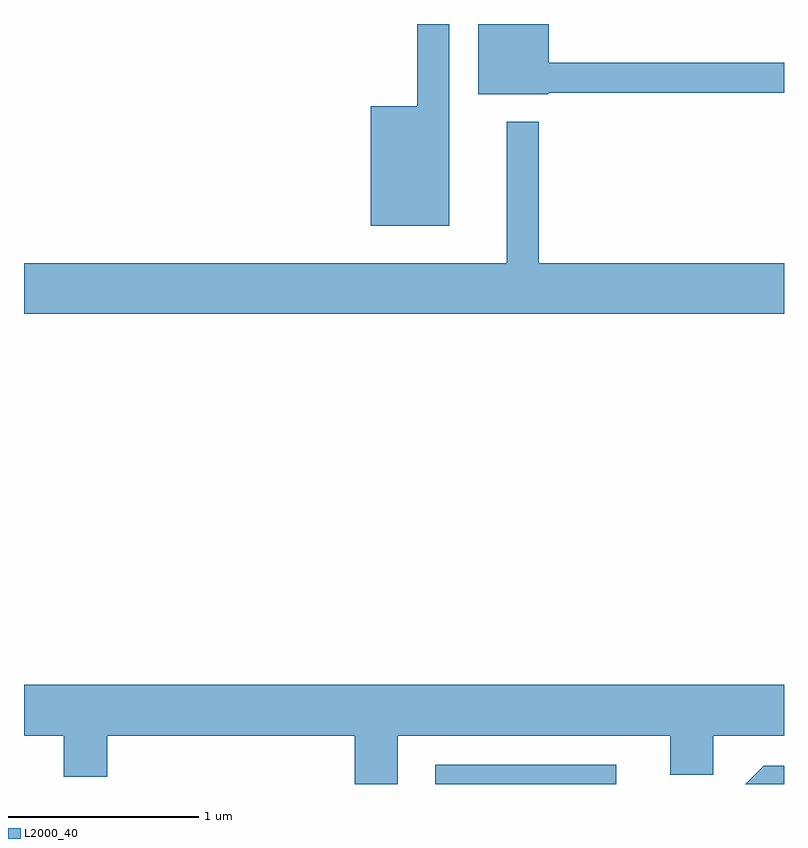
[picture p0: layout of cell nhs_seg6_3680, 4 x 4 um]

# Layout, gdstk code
import gdstk
lib = gdstk.Library(unit=1e-6, precision=1e-09)
def R(c, l, rs):  # rectangles x0, y0, x1, y1
    for r in rs: c.add(gdstk.rectangle(r[:2], r[2:], *l))
def P(c, l, *ps):  # polygons
    for p in ps: c.add(gdstk.Polygon(p, *l))
L2000_40 = (2000, 40)

nhs_seg6_3680 = lib.new_cell('nhs_seg6_3680')
R(nhs_seg6_3680, L2000_40, [(297.776,1614.162,298.729,1614.264)])
P(nhs_seg6_3680, L2000_40, [(297.849,1618.162),(297.681,1618.162),(297.681,1617.729),(297.436,1617.729),(297.436,1617.101),(297.849,1617.101)],
  [(298.37,1617.801),(299.611,1617.801),(299.611,1617.959),(298.374,1617.959),(298.374,1618.162),(298.001,1618.162),(298.001,1617.791),(298.37,1617.791)],
  [(299.611,1616.904),(298.319,1616.904),(298.319,1617.648),(298.151,1617.648),(298.151,1616.904),(295.611,1616.904),(295.611,1616.636),(299.611,1616.636)],
  [(297.579,1614.416),(299.011,1614.416),(299.011,1614.211),(299.239,1614.211),(299.239,1614.416),(299.611,1614.416),(299.611,1614.684),(295.611,1614.684),(295.611,1614.416),(295.821,1614.416),(295.821,1614.201),(296.049,1614.201),(296.049,1614.416),(297.351,1614.416),(297.351,1614.162),(297.579,1614.162)],
  [(299.611,1614.259),(299.504,1614.259),(299.407,1614.162),(299.611,1614.162)])

lib.write_gds('nhs_seg6_3680.gds')
